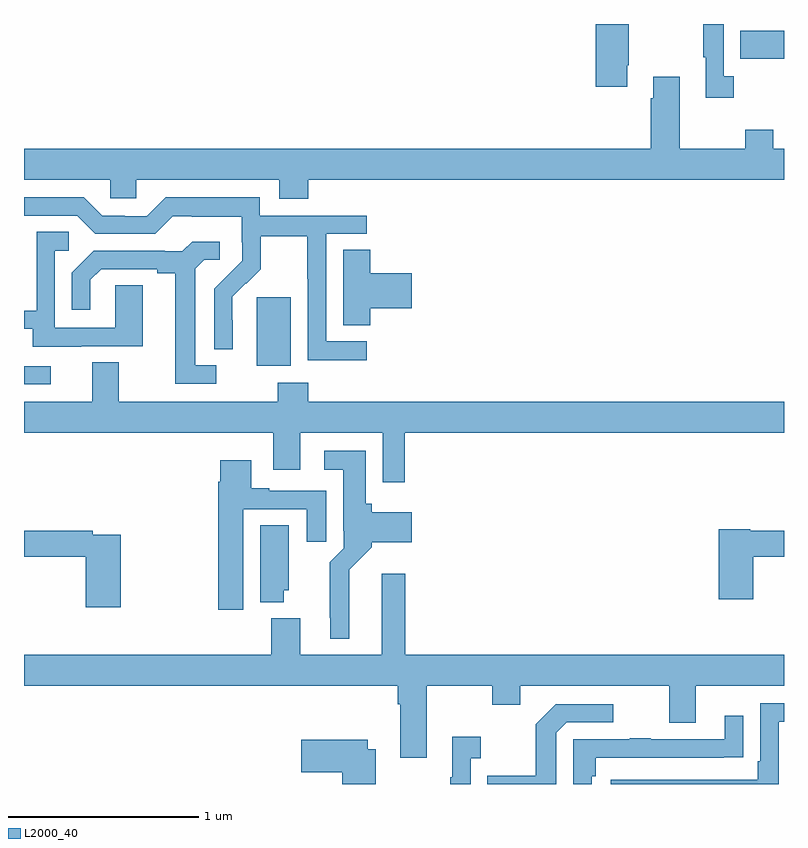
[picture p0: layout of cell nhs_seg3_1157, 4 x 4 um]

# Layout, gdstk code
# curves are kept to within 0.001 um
import gdstk
lib = gdstk.Library(unit=1e-6, precision=1e-09)
def R(c, l, rs):  # rectangles x0, y0, x1, y1
    for r in rs: c.add(gdstk.rectangle(r[:2], r[2:], *l))
def P(c, l, *ps):  # polygons
    for p in ps: c.add(gdstk.Polygon(p, *l))
L2000_40 = (2000, 40)

nhs_seg3_1157 = lib.new_cell('nhs_seg3_1157')
R(nhs_seg3_1157, L2000_40, [(171,702.504,171.142,702.6), (172.226,702.602,172.405,702.963), (174.769,704.218,175,704.365)])
P(nhs_seg3_1157, L2000_40, [(174.736,704.126),(174.684,704.126),(174.684,704.4),(174.576,704.4),(174.576,704.225),(174.587,704.225),(174.587,704.013),(174.736,704.013)],
  [(174.175,704.182),(174.183,704.182),(174.183,704.4),(174.008,704.4),(174.008,704.07),(174.175,704.07)],
  [(172.496,703.58),(175,703.58),(175,703.744),(174.943,703.744),(174.943,703.843),(174.796,703.843),(174.796,703.744),(174.451,703.744),(174.451,704.122),(174.311,704.122),(174.311,704.009),(174.299,704.009),(174.299,703.744),(171,703.744),(171,703.58),(171.453,703.58),(171.453,703.482),(171.591,703.482),(171.591,703.58),(172.343,703.58),(172.343,703.481),(172.496,703.481)],
  [(172.804,702.729),(172.59,702.729),(172.59,703.296),(172.804,703.296),(172.804,703.392),(172.242,703.392),(172.242,703.489),(171.745,703.489),(171.645,703.389),(171.53,703.389),(171.53,703.392),(171.411,703.392),(171.315,703.488),(171,703.488),(171,703.392),(171.279,703.392),(171.375,703.296),(171.69,703.296),(171.783,703.389),(171.883,703.389),(171.883,703.385),(172.146,703.385),(172.146,703.251),(172.148,703.251),(172.148,703.154),(172.002,703.006),(172.002,702.688),(172.098,702.688),(172.097,702.965),(172.167,703.035),(172.17,703.032),(172.247,703.109),(172.247,703.284),(172.492,703.284),(172.492,703.06),(172.494,703.06),(172.494,702.631),(172.804,702.631)],
  [(171.301,702.705),(171.625,702.705),(171.625,703.025),(171.48,703.025),(171.48,702.801),(171.162,702.801),(171.162,703.206),(171.235,703.206),(171.235,703.307),(171.066,703.307),(171.066,702.891),(171,702.891),(171,702.795),(171.047,702.795),(171.047,702.701),(171.301,702.701)],
  [(172.012,702.603),(171.901,702.603),(171.901,703.111),(171.948,703.158),(172.03,703.158),(172.03,703.255),(171.886,703.255),(171.834,703.203),(171.74,703.203),(171.74,703.206),(171.368,703.206),(171.252,703.09),(171.252,702.897),(171.349,702.897),(171.349,703.053),(171.406,703.11),(171.701,703.11),(171.701,703.088),(171.797,703.088),(171.797,702.507),(172.012,702.507)],
  [(172.823,702.905),(173.041,702.905),(173.041,703.088),(172.823,703.088),(172.823,703.211),(172.679,703.211),(172.679,702.814),(172.823,702.814)],
  [(173.003,702.248),(175,702.248),(175,702.412),(172.496,702.412),(172.496,702.511),(172.336,702.511),(172.336,702.412),(171.499,702.412),(171.499,702.62),(171.359,702.62),(171.359,702.412),(171,702.412),(171,702.248),(172.313,702.248),(172.313,702.054),(172.453,702.054),(172.453,702.248),(172.887,702.248),(172.887,701.988),(173.003,701.988)],
  [(172.711,701.528),(172.829,701.646),(172.829,701.672),(173.041,701.672),(173.041,701.83),(172.829,701.83),(172.829,701.874),(172.798,701.874),(172.798,702.154),(172.581,702.154),(172.581,702.053),(172.679,702.053),(172.679,701.734),(172.683,701.734),(172.683,701.64),(172.609,701.566),(172.609,701.275),(172.613,701.275),(172.613,701.165),(172.711,701.165)],
  [(172.153,701.847),(172.487,701.847),(172.487,701.676),(172.591,701.676),(172.591,701.943),(172.291,701.943),(172.291,701.956),(172.195,701.956),(172.195,702.103),(172.034,702.103),(172.034,701.99),(172.022,701.99),(172.022,701.316),(172.153,701.316)],
  [(172.366,701.421),(172.393,701.421),(172.393,701.762),(172.244,701.762),(172.244,701.357),(172.366,701.357)],
  [(174.839,701.596),(175,701.596),(175,701.732),(174.822,701.732),(174.822,701.74),(174.656,701.74),(174.656,701.373),(174.839,701.373)],
  [(171.509,701.712),(171.362,701.712),(171.362,701.732),(171,701.732),(171,701.596),(171.326,701.596),(171.326,701.331),(171.509,701.331)],
  [(173.119,700.916),(173.464,700.916),(173.464,700.817),(173.611,700.817),(173.611,700.916),(174.395,700.916),(174.395,700.722),(174.535,700.722),(174.535,700.916),(175,700.916),(175,701.08),(173.006,701.08),(173.006,701.506),(172.883,701.506),(172.883,701.08),(172.453,701.08),(172.453,701.272),(172.301,701.272),(172.301,701.08),(171,701.08),(171,700.916),(172.967,700.916),(172.967,700.82),(172.979,700.82),(172.979,700.539),(173.119,700.539)],
  [(174.972,700.728),(175,700.728),(175,700.824),(174.876,700.824),(174.876,700.519),(174.863,700.519),(174.863,700.422),(174.087,700.422),(174.087,700.4),(174.972,700.4)],
  [(173.802,700.671),(173.856,700.725),(174.1,700.725),(174.1,700.821),(173.799,700.821),(173.694,700.715),(173.694,700.443),(173.437,700.443),(173.437,700.4),(173.802,700.4)],
  [(173.988,700.442),(174.008,700.442),(174.008,700.539),(174.683,700.539),(174.683,700.54),(174.785,700.54),(174.785,700.759),(174.689,700.759),(174.689,700.635),(174.299,700.635),(174.299,700.64),(174.187,700.64),(174.187,700.635),(173.892,700.635),(173.892,700.4),(173.988,700.4)],
  [(173.352,700.535),(173.404,700.535),(173.404,700.648),(173.255,700.648),(173.255,700.435),(173.244,700.435),(173.244,700.4),(173.352,700.4)],
  [(172.851,700.582),(172.81,700.582),(172.81,700.633),(172.458,700.633),(172.458,700.463),(172.676,700.463),(172.676,700.4),(172.851,700.4)])

lib.write_gds('nhs_seg3_1157.gds')
